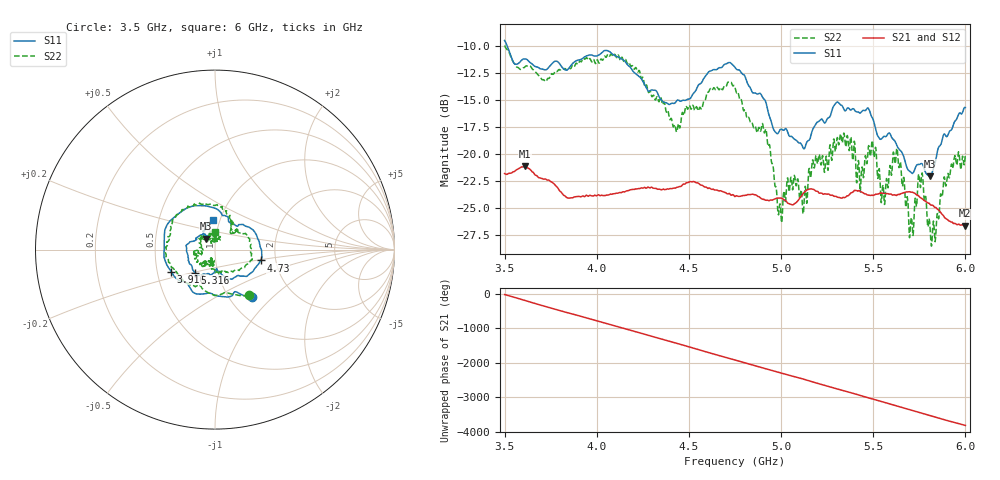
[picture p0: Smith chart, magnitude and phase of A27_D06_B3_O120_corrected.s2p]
! Created with skrf 1.9.0 (http://scikit-rf.org).
# Hz S RI R 50.0
!freq ReS11 ImS11 ReS21 ImS21 ReS12 ImS12 ReS22 ImS22
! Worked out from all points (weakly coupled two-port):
!   1601 points, 3.5 GHz to 6 GHz, reference 50 ohm
!   highest |S21| = -21.17 dB at 3.609 GHz (marker M1); lowest = -26.7 dB at 5.995 GHz (marker M2)
!   lowest |S11| = -22.1 dB at 5.808 GHz (marker M3), VSWR 1.17, Z = 44.9 + j5.44 ohm
!   |S11| at or under -10 dB: 3.514 GHz to end of sweep
!   |S22| runs from -28.5 to -10.0 dB; largest |S21 - S12| = 0.00097
!   S11 on the Smith chart (normalised r, x): 3.5 GHz: 1.26, -0.75; 3.916 GHz: 0.59, -0.16; 4.73 GHz: 1.66, -0.22; 5.316 GHz: 0.77, -0.20; 6 GHz: 0.93, +0.31
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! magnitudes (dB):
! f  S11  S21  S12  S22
! 3.5 GHz  -9.5  -21.8  -21.8  -10.0
! 3.609 GHz  -11.2  -21.2  -21.2  -12.0
! 3.916 GHz  -11.3  -24.0  -23.9  -11.5
! 3.917 GHz  -11.3  -24.0  -23.9  -11.5
! 4.334 GHz  -14.6  -23.3  -23.2  -15.1
! 4.441 GHz  -15.0  -23.1  -23.0  -17.4
! 4.73 GHz  -11.7  -23.8  -23.7  -13.4
! 4.75 GHz  -12.0  -24.0  -23.9  -13.9
! 4.911 GHz  -15.0  -24.3  -24.2  -18.0
! 4.994 GHz  -17.8  -24.1  -24.0  -24.6
! 5.167 GHz  -18.0  -23.3  -23.2  -21.0
! 5.316 GHz  -15.3  -24.0  -24.0  -19.0
! 5.42 GHz  -16.2  -23.4  -23.4  -20.6
! 5.503 GHz  -17.0  -23.8  -23.8  -20.3
! 5.553 GHz  -18.5  -23.7  -23.6  -22.9
! 5.584 GHz  -18.1  -23.7  -23.7  -22.3
! 5.638 GHz  -19.5  -23.8  -23.7  -21.1
! 5.706 GHz  -21.8  -23.6  -23.5  -25.9
! 5.758 GHz  -20.9  -24.1  -24.0  -23.0
! 5.808 GHz  -22.1  -24.7  -24.6  -26.7
! 5.995 GHz  -15.7  -26.7  -26.6  -20.9
! 6 GHz  -15.7  -26.6  -26.6  -20.0
